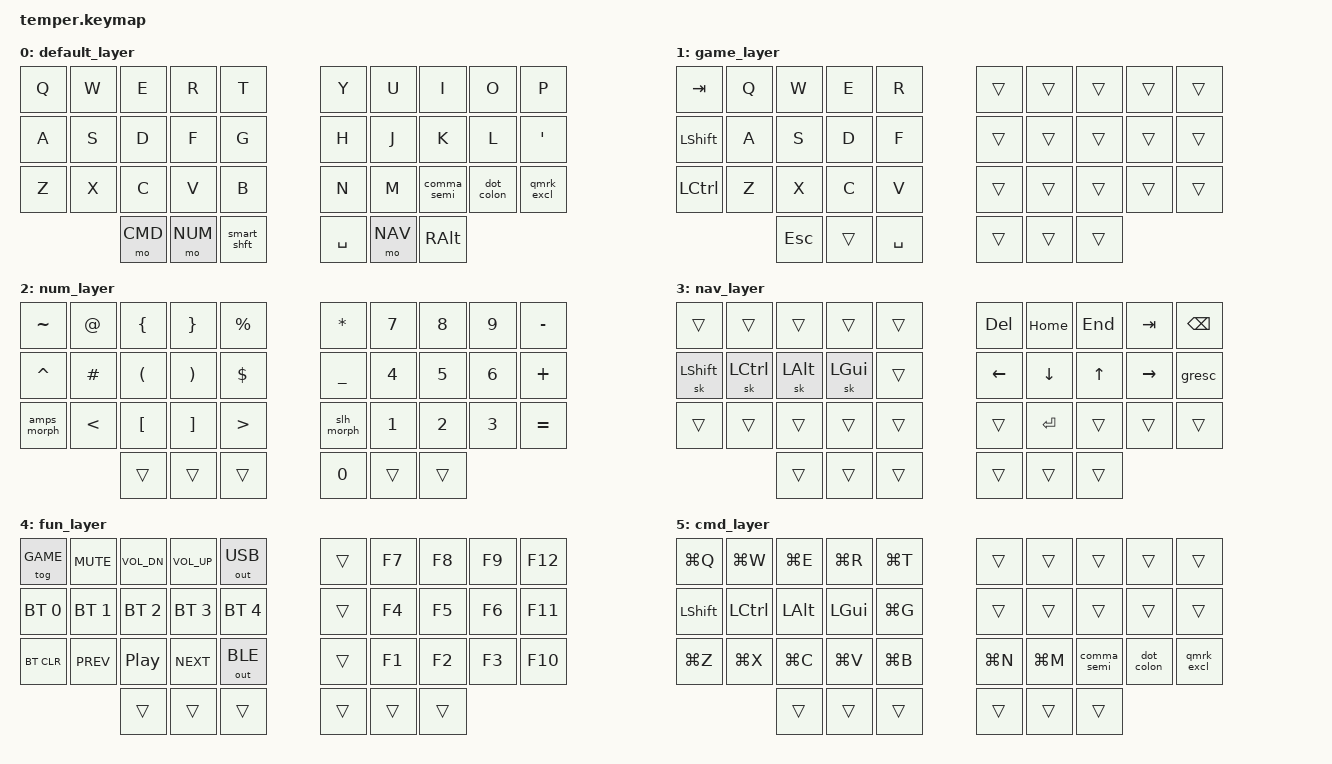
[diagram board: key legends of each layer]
/*
 * Copyright (c) 2020 The ZMK Contributors
 *
 * SPDX-License-Identifier: MIT
 */

#include <behaviors.dtsi>
#include <dt-bindings/zmk/keys.h>
#include <dt-bindings/zmk/bt.h>
#include <dt-bindings/zmk/outputs.h>

#define DEFAULT 0
#define GAME    1
#define NUM     2
#define NAV     3
#define FUN     4
#define CMD     5

# define ______ &trans

/ {
    // Configurazione del partitore di tensione calibrato sulla tua nuova resistenza da 10M
    vbatt: vbatt {
        compatible = "zmk,battery-voltage-divider";
        label = "BATTERY";
        io-channels = <&adc 2>;       // Pin analogico AIN2 dei chip neri Pro Micro V1940
        output-ohms = <10000000>;    // Il tuo resistore rimpiazzato da 10 Megaohm
        full-ohms = <12000000>;      // Tensione totale del partitore (10M + 2M interni)
    };

    conditional_layers {
        compatible = "zmk,conditional-layers";
        tri_layer {
            if-layers = <NUM NAV>;
            then-layer = <FUN>;
        };
    };

    behaviors {
        bspc_del: backspace_delete {
            compatible = "zmk,behavior-mod-morph";
            #binding-cells = <0>;
            bindings = <&kp BACKSPACE>, <&kp DELETE>;
            mods = <(MOD_LSFT|MOD_RSFT)>;
            keep-mods = <(MOD_RSFT)>;
        };
        super_bspc: super_backspace {
            compatible = "zmk,behavior-mod-morph";
            #binding-cells = <0>;
            bindings = <&kp BACKSPACE>, <&kp LA(BACKSPACE)>;
            mods = <(MOD_LSFT|MOD_RSFT)>;
        };
        smart_shft: smart_shift {
            compatible = "zmk,behavior-mod-morph";
            #binding-cells = <0>;
            bindings = <&kp LSHFT>, <&caps_word>;
            mods = <(MOD_LSFT)>;
        };
        comma_semi: comma_semi {
            compatible = "zmk,behavior-mod-morph";
            #binding-cells = <0>;
            bindings = <&kp COMMA>, <&kp SEMI>;
            mods = <(MOD_LSFT)>;
        };
        dot_colon: dot_colon {
            compatible = "zmk,behavior-mod-morph";
            #binding-cells = <0>;
            bindings = <&kp DOT>, <&kp COLON>;
            mods = <(MOD_LSFT)>;
        };
        qmrk_excl: qmrk_excl {
            compatible = "zmk,behavior-mod-morph";
            #binding-cells = <0>;
            bindings = <&kp QMARK>, <&kp EXCL>;
            mods = <(MOD_LSFT)>;
        };
        slh_morph: slh_morph {
            compatible = "zmk,behavior-mod-morph";
            #binding-cells = <0>;
            bindings = <&kp FSLH>, <&kp BSLH>;
            mods = <(MOD_LSFT)>;
        };
        amps_morph: amps_morph {
            compatible = "zmk,behavior-mod-morph";
            #binding-cells = <0>;
            bindings = <&kp AMPS>, <&kp PIPE>;
            mods = <(MOD_LSFT)>;
        };
    };

    keymap {
        compatible = "zmk,keymap";

        default_layer {
            bindings = <
// ╭─────────────┬─────────────┬─────────────┬─────────────┬─────────────╮   ╭─────────────┬─────────────┬─────────────┬─────────────┬─────────────╮
        &kp Q         &kp W         &kp E         &kp R         &kp T             &kp Y         &kp U         &kp I         &kp O         &kp P   
// ├─────────────┼─────────────┼─────────────┼─────────────┼─────────────┤   ├─────────────┼─────────────┼─────────────┼─────────────┼─────────────┤
        &kp A         &kp S         &kp D         &kp F         &kp G             &kp H         &kp J         &kp K         &kp L         &kp APOS
// ├─────────────┼─────────────┼─────────────┼─────────────┼─────────────┤   ├─────────────┼─────────────┼─────────────┼─────────────┼─────────────┤
        &kp Z         &kp X         &kp C         &kp V         &kp B             &kp N         &kp M      &comma_semi    &dot_colon    &qmrk_excl
// ╰─────────────┴─────────────┼─────────────┼─────────────┼─────────────┤   ├─────────────┼─────────────┼─────────────┼─────────────┴─────────────╯
                                   &mo CMD       &mo NUM     &smart_shft        &kp SPACE      &mo NAV       &kp RALT
//                             ╰─────────────┴─────────────┴─────────────╯   ╰─────────────┴─────────────┴─────────────╯
            >;
        };

        game_layer {
            bindings = <
// ╭─────────────┬─────────────┬─────────────┬─────────────┬─────────────╮   ╭─────────────┬─────────────┬─────────────┬─────────────┬─────────────╮
        &kp TAB       &kp Q         &kp W         &kp E         &kp R             ______        ______        ______        ______        ______  
// ├─────────────┼─────────────┼─────────────┼─────────────┼─────────────┤   ├─────────────┼─────────────┼─────────────┼─────────────┼─────────────┤
       &kp LSHFT      &kp A         &kp S         &kp D         &kp F             ______        ______        ______        ______        ______
// ├─────────────┼─────────────┼─────────────┼─────────────┼─────────────┤   ├─────────────┼─────────────┼─────────────┼─────────────┼─────────────┤
       &kp LCTRL      &kp Z         &kp X         &kp C         &kp V             ______        ______        ______        ______        ______
// ╰─────────────┴─────────────┼─────────────┼─────────────┼─────────────┤   ├─────────────┼─────────────┼─────────────┼─────────────┴─────────────╯
                                    &kp ESC       ______      &kp SPACE           ______        ______        ______
//                             ╰─────────────┴─────────────┴─────────────╯   ╰─────────────┴─────────────┴─────────────╯
            >;
        };

        num_layer {
            bindings = <
// ╭─────────────┬─────────────┬─────────────┬─────────────┬─────────────╮   ╭─────────────┬─────────────┬─────────────┬─────────────┬─────────────╮
      &kp TILDE       &kp AT       &kp LBRC      &kp RBRC     &kp PRCNT          &kp STAR       &kp N7        &kp N8        &kp N9      &kp MINUS
// ├─────────────┼─────────────┼─────────────┼─────────────┼─────────────┤   ├─────────────┼─────────────┼─────────────┼─────────────┼─────────────┤
      &kp CARET      &kp HASH      &kp LPAR      &kp RPAR      &kp DLLR         &kp UNDER       &kp N4        &kp N5        &kp N6      &kp PLUS
// ├─────────────┼─────────────┼─────────────┼─────────────┼─────────────┤   ├─────────────┼─────────────┼─────────────┼─────────────┼─────────────┤
      &amps_morph     &kp LT       &kp LBKT      &kp RBKT       &kp GT          &slh_morph      &kp N1        &kp N2        &kp N3      &kp EQUAL
// ╰─────────────┴─────────────┼─────────────┼─────────────┼─────────────┤   ├─────────────┼─────────────┼─────────────┼─────────────┴─────────────╯
                                    ______        ______        ______            &kp N0        ______        ______
//                             ╰─────────────┴─────────────┴─────────────╯   ╰─────────────┴─────────────┴─────────────╯
            >;
        };

        nav_layer {
            bindings = <
// ╭─────────────┬─────────────┬─────────────┬─────────────┬─────────────╮   ╭─────────────┬─────────────┬─────────────┬─────────────┬─────────────╮
        ______        ______        ______        ______        ______           &kp DEL       &kp HOME      &kp END       &kp TAB       &kp BSPC
// ├─────────────┼─────────────┼─────────────┼─────────────┼─────────────┤   ├─────────────┼─────────────┼─────────────┼─────────────┼─────────────┤
      &sk LSHFT     &sk LCTRL      &sk LALT      &sk LGUI       ______           &kp LEFT      &kp DOWN       &kp UP      &kp RIGHT       &gresc
// ├─────────────┼─────────────┼─────────────┼─────────────┼─────────────┤   ├─────────────┼─────────────┼─────────────┼─────────────┼─────────────┤
        ______        ______        ______        ______        ______            ______        &kp RET       ______        ______        ______
// ╰─────────────┴─────────────┼─────────────┼─────────────┼─────────────┤   ├─────────────┼─────────────┼─────────────┼─────────────┴─────────────╯
                                    ______        ______        ______            ______        ______        ______
//                             ╰─────────────┴─────────────┴─────────────╯   ╰─────────────┴─────────────┴─────────────╯
            >;
        };

        fun_layer {
            bindings = <
// ╭─────────────┬─────────────┬─────────────┬─────────────┬─────────────╮   ╭─────────────┬─────────────┬─────────────┬─────────────┬─────────────╮
      &tog GAME      &kp C_MUTE    &kp C_VOL_DN  &kp C_VOL_UP  &out OUT_USB         ______        &kp F7        &kp F8        &kp F9       &kp F12
// ├─────────────┼─────────────┼─────────────┼─────────────┼─────────────┤   ├─────────────┼─────────────┼─────────────┼─────────────┼─────────────┤
     &bt BT_SEL 0  &bt BT_SEL 1  &bt BT_SEL 2  &bt BT_SEL 3  &bt BT_SEL 4         ______        &kp F4        &kp F5        &kp F6       &kp F11
// ├─────────────┼─────────────┼─────────────┼─────────────┼─────────────┤   ├─────────────┼─────────────┼─────────────┼─────────────┼─────────────┤
      &bt BT_CLR    &kp C_PREV     &kp C_PP     &kp C_NEXT   &out OUT_BLE         ______        &kp F1        &kp F2        &kp F3       &kp F10
// ╰─────────────┴─────────────┼─────────────┼─────────────┼─────────────┤   ├─────────────┼─────────────┼─────────────┼─────────────┴─────────────╯
                                    ______        ______        ______            ______        ______        ______
//                             ╰─────────────┴─────────────┴─────────────╯   ╰─────────────┴─────────────┴─────────────╯
            >;
        };

        cmd_layer {
            bindings = <
// ╭─────────────┬─────────────┬─────────────┬─────────────┬─────────────╮   ╭─────────────┬─────────────┬─────────────┬─────────────┬─────────────╮
       &kp LG(Q)    &kp LG(W)     &kp LG(E)     &kp LG(R)     &kp LG(T)           ______        ______        ______        ______        ______  
// ├─────────────┼─────────────┼─────────────┼─────────────┼─────────────┤   ├─────────────┼─────────────┼─────────────┼─────────────┼─────────────┤
&kp LSHFT    &kp LCTRL     &kp LALT      &kp LGUI      &kp LG(G)           ______        ______        ______        ______        ______
// ├─────────────┼─────────────┼─────────────┼─────────────┼─────────────┤   ├─────────────┼─────────────┼─────────────┼─────────────┼─────────────┤
&kp LG(Z)    &kp LG(X)     &kp LG(C)     &kp LG(V)     &kp LG(B)           &kp LG(N)     &kp LG(M)  &comma_semi    &dot_colon    &qmrk_excl
// ╰─────────────┴─────────────┼─────────────┼─────────────┼─────────────┤   ├─────────────┼─────────────┼─────────────┼─────────────┴─────────────╯
______        ______        ______            ______        ______        ______
//                             ╰─────────────┴─────────────┴─────────────╯   ╰─────────────┴─────────────┴─────────────╯
            >;
        };
    };
};
